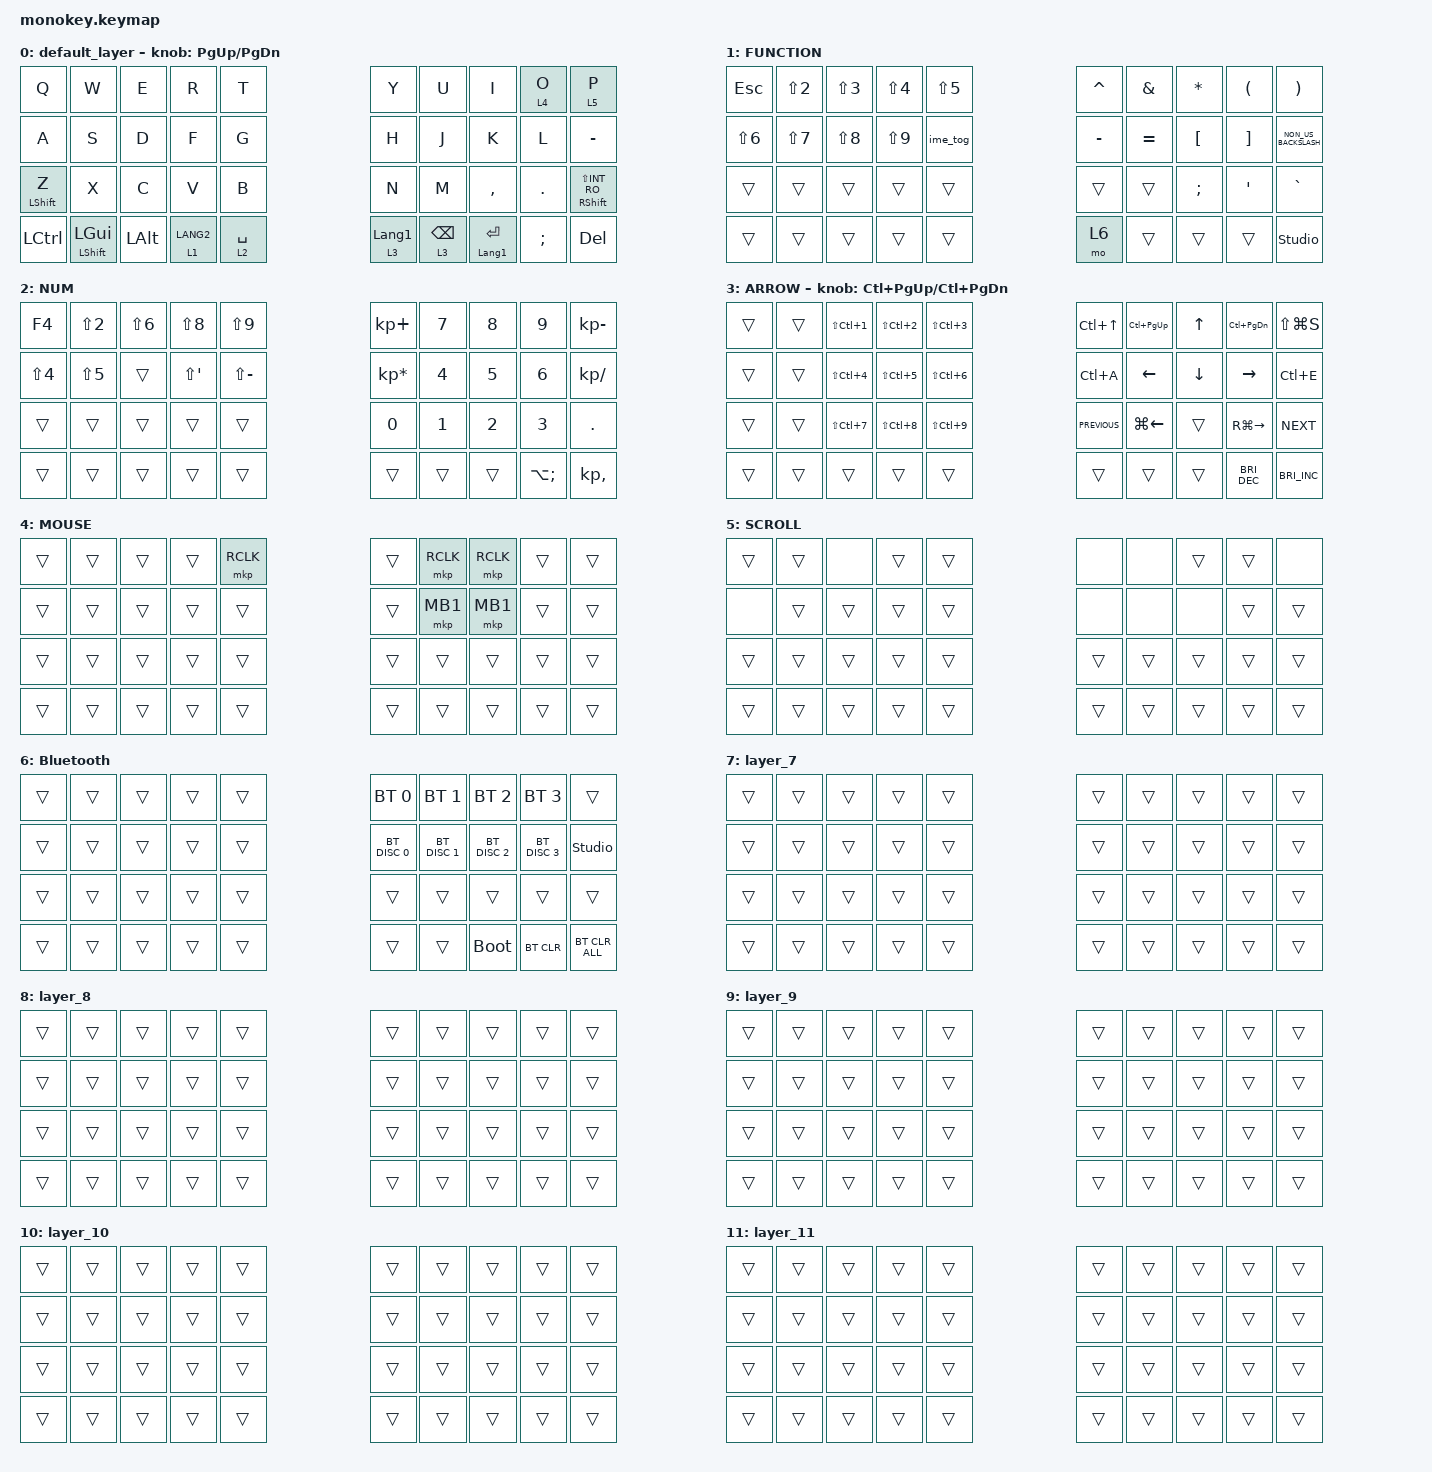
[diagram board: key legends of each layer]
#include <behaviors.dtsi>
#include <dt-bindings/zmk/bt.h>
#include <dt-bindings/zmk/keys.h>
#include <dt-bindings/zmk/pointing.h>

#define MOUSE 4
#define SCROLL 5
#define NUM 6

&mt {
    flavor = "balanced";
    quick-tap-ms = <300>;
};

&lt { quick-tap-ms = <300>; };

/ {
    combos {
        compatible = "zmk,combos";

        scroll {
            bindings = <&mo 5>;
            key-positions = <17 18>;
        };

        esc {
            bindings = <&kp ESCAPE>;
            key-positions = <0 1>;
        };

        tab {
            bindings = <&kp TAB>;
            key-positions = <10 11>;
        };

        rc {
            bindings = <&mkp MB2>;
            key-positions = <16 7>;
        };
    };

    behaviors {
        right_click: right_click_behavior {
            compatible = "zmk,behavior-mouse-key";
            label = "RIGHT_CLICK";
            #binding-cells = <0>;

            // 右クリックは通常 MB2 に対応（ZMKの標準定義）

            bindings = <&mkp MB2>;
        };
    };

    macros {
        ime_tog: ime_tog {
            compatible = "zmk,behavior-macro";
            #binding-cells = <0>;
            bindings =
                <&macro_press>,
                <&kp LEFT_ALT>,
                <&macro_tap>,
                <&kp GRAVE>,
                <&macro_release>,
                <&kp LEFT_ALT>;

            label = "IME_TOG";
        };
    };

    keymap {
        compatible = "zmk,keymap";

        default_layer {
            bindings = <
&kp Q             &kp W                    &kp E         &kp R        &kp T                                           &kp Y                 &kp U  &kp I      &lt 4 O        &lt 5 P
&kp A             &kp S                    &kp D         &kp F        &kp G                                           &kp H                 &kp J  &kp K      &kp L          &kp MINUS
&mt LEFT_SHIFT Z  &kp X                    &kp C         &kp V        &kp B                                           &kp N                 &kp M  &kp COMMA  &kp PERIOD     &mt RIGHT_SHIFT LS(INT_RO)
&kp LEFT_CONTROL  &mt LEFT_SHIFT LEFT_GUI  &kp LEFT_ALT  &lt 1 LANG2  &lt 2 SPACE  &lt 3 LANGUAGE_1  &lt 3 BACKSPACE  &mt LANGUAGE_1 ENTER                    &kp SEMICOLON  &kp DELETE
            >;

            sensor-bindings = <&inc_dec_kp PG_UP PAGE_DOWN>;
        };

        FUNCTION {
            bindings = <
&kp ESCAPE  &kp LS(N2)  &kp LS(N3)  &kp LS(N4)  &kp LS(N5)                 &kp CARET  &kp AMPERSAND  &kp ASTERISK      &kp LEFT_PARENTHESIS  &kp RIGHT_PARENTHESIS
&kp LS(N6)  &kp LS(N7)  &kp LS(N8)  &kp LS(N9)  &ime_tog                   &kp MINUS  &kp EQUAL      &kp LEFT_BRACKET  &kp RIGHT_BRACKET     &kp NON_US_BACKSLASH
&trans      &trans      &trans      &trans      &trans                     &trans     &trans         &kp SEMICOLON     &kp SINGLE_QUOTE      &kp GRAVE
&trans      &trans      &trans      &trans      &trans      &mo 6  &trans  &trans                                      &trans                &studio_unlock
            >;
        };

        NUM {
            bindings = <
&kp F4      &kp LS(N2)  &kp LS(N6)  &kp LS(N8)    &kp LS(N9)                     &kp KP_PLUS      &kp N7  &kp N8  &kp N9             &kp KP_MINUS
&kp LS(N4)  &kp LS(N5)  &trans      &kp LS(APOS)  &kp LS(MINUS)                  &kp KP_MULTIPLY  &kp N4  &kp N5  &kp N6             &kp KP_SLASH
&trans      &trans      &trans      &trans        &trans                         &kp N0           &kp N1  &kp N2  &kp N3             &kp DOT
&trans      &trans      &trans      &trans        &trans         &trans  &trans  &trans                           &kp LA(SEMICOLON)  &kp KP_COMMA
            >;
        };

        ARROW {
            bindings = <
&trans  &trans  &kp LS(LC(NUMBER_1))  &kp LS(LC(NUMBER_2))  &kp LS(LC(NUMBER_3))                  &kp LC(UP_ARROW)  &kp LC(PAGE_UP)  &kp UP_ARROW    &kp LC(PAGE_DOWN)  &kp LS(LG(S))
&trans  &trans  &kp LS(LC(NUMBER_4))  &kp LS(LC(N5))        &kp LS(LC(NUMBER_6))                  &kp LC(A)         &kp LEFT_ARROW   &kp DOWN_ARROW  &kp RIGHT_ARROW    &kp LC(E)
&trans  &trans  &kp LS(LC(N7))        &kp LS(LC(N8))        &kp LS(LC(N9))                        &kp C_PREVIOUS    &kp LG(LEFT)     &trans          &kp RG(RIGHT)      &kp C_NEXT
&trans  &trans  &trans                &trans                &trans                &trans  &trans  &trans                                             &kp C_BRI_DEC      &kp C_BRI_INC
            >;

            sensor-bindings = <&inc_dec_kp LC(PAGE_UP) LC(PAGE_DOWN)>;
        };

        MOUSE {
            bindings = <
&trans  &trans  &trans  &trans  &mkp RCLK                  &trans  &mkp RCLK  &mkp RCLK  &trans  &trans
&trans  &trans  &trans  &trans  &trans                     &trans  &mkp MB1   &mkp MB1   &trans  &trans
&trans  &trans  &trans  &trans  &trans                     &trans  &trans     &trans     &trans  &trans
&trans  &trans  &trans  &trans  &trans     &trans  &trans  &trans                        &trans  &trans
            >;
        };

        SCROLL {
            bindings = <
&trans  &trans  &none   &trans  &trans                  &none   &none   &trans  &trans  &none
&none   &trans  &trans  &trans  &trans                  &none   &none   &none   &trans  &trans
&trans  &trans  &trans  &trans  &trans                  &trans  &trans  &trans  &trans  &trans
&trans  &trans  &trans  &trans  &trans  &trans  &trans  &trans                  &trans  &trans
            >;
        };

        Bluetooth {
            bindings = <
&trans  &trans  &trans  &trans  &trans                  &bt BT_SEL 0   &bt BT_SEL 1   &bt BT_SEL 2   &bt BT_SEL 3   &trans
&trans  &trans  &trans  &trans  &trans                  &bt BT_DISC 0  &bt BT_DISC 1  &bt BT_DISC 2  &bt BT_DISC 3  &studio_unlock
&trans  &trans  &trans  &trans  &trans                  &trans         &trans         &trans         &trans         &trans
&trans  &trans  &trans  &trans  &trans  &trans  &trans  &bootloader                                  &bt BT_CLR     &bt BT_CLR_ALL
            >;
        };

        layer_7 {
            bindings = <
&trans  &trans  &trans  &trans  &trans                  &trans  &trans  &trans  &trans  &trans
&trans  &trans  &trans  &trans  &trans                  &trans  &trans  &trans  &trans  &trans
&trans  &trans  &trans  &trans  &trans                  &trans  &trans  &trans  &trans  &trans
&trans  &trans  &trans  &trans  &trans  &trans  &trans  &trans                  &trans  &trans
            >;
        };

        layer_8 {
            bindings = <
&trans  &trans  &trans  &trans  &trans                  &trans  &trans  &trans  &trans  &trans
&trans  &trans  &trans  &trans  &trans                  &trans  &trans  &trans  &trans  &trans
&trans  &trans  &trans  &trans  &trans                  &trans  &trans  &trans  &trans  &trans
&trans  &trans  &trans  &trans  &trans  &trans  &trans  &trans                  &trans  &trans
            >;
        };

        layer_9 {
            bindings = <
&trans  &trans  &trans  &trans  &trans                  &trans  &trans  &trans  &trans  &trans
&trans  &trans  &trans  &trans  &trans                  &trans  &trans  &trans  &trans  &trans
&trans  &trans  &trans  &trans  &trans                  &trans  &trans  &trans  &trans  &trans
&trans  &trans  &trans  &trans  &trans  &trans  &trans  &trans                  &trans  &trans
            >;
        };

        layer_10 {
            bindings = <
&trans  &trans  &trans  &trans  &trans                  &trans  &trans  &trans  &trans  &trans
&trans  &trans  &trans  &trans  &trans                  &trans  &trans  &trans  &trans  &trans
&trans  &trans  &trans  &trans  &trans                  &trans  &trans  &trans  &trans  &trans
&trans  &trans  &trans  &trans  &trans  &trans  &trans  &trans                  &trans  &trans
            >;
        };

        layer_11 {
            bindings = <
&trans  &trans  &trans  &trans  &trans                  &trans  &trans  &trans  &trans  &trans
&trans  &trans  &trans  &trans  &trans                  &trans  &trans  &trans  &trans  &trans
&trans  &trans  &trans  &trans  &trans                  &trans  &trans  &trans  &trans  &trans
&trans  &trans  &trans  &trans  &trans  &trans  &trans  &trans                  &trans  &trans
            >;
        };
    };
};
